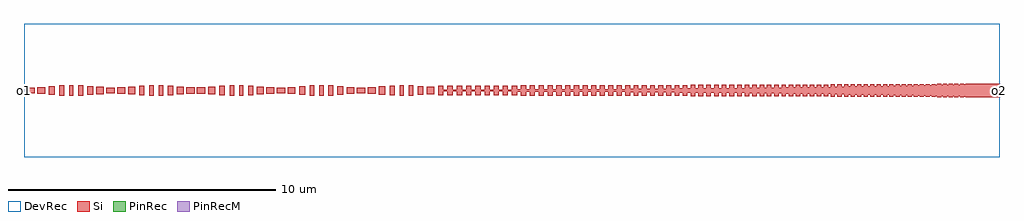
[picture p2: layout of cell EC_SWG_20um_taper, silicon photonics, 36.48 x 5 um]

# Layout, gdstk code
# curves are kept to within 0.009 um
import gdstk
lib = gdstk.Library(unit=1e-6, precision=1e-09)
def R(c, l, rs):  # rectangles x0, y0, x1, y1
    for r in rs: c.add(gdstk.rectangle(r[:2], r[2:], *l))
def P(c, l, *ps):  # polygons
    for p in ps: c.add(gdstk.Polygon(p, *l))
Si = (1, 0)
PinRec = (1, 10)
PinRecM = (1, 11)
DevRec = (68, 0)

nonlinear_taper_5 = lib.new_cell('Nonlinear_Taper$5')
P(nonlinear_taper_5, Si, [(20,-0.25),(16.162,-0.164),(11.515,-0.098),(7.071,-0.062),(0,-0.03),(0,0.03),(7.071,0.062),(11.515,0.098),(16.162,0.164),(20,0.25)])

rectangle_s1_0p5_lwg_cf_ = lib.new_cell('rectangle_S1_0p5_LWG_CF_2a77620c$5')
R(rectangle_s1_0p5_lwg_cf_, Si, [(0,0,1,0.5)])

ec_swg_20um_taper = lib.new_cell('EC_SWG_20um_taper')
R(ec_swg_20um_taper, Si, [(35.157,-0.249,35.291,0.249), (34.953,-0.248,35.088,0.248), (34.747,-0.247,34.884,0.247), (34.538,-0.246,34.676,0.246), (34.328,-0.245,34.467,0.245), (34.115,-0.244,34.256,0.244), (33.901,-0.243,34.042,0.243), (33.684,-0.242,33.826,0.242), (33.464,-0.241,33.608,0.241), (33.243,-0.24,33.388,0.24), (33.019,-0.239,33.165,0.239), (32.793,-0.238,32.94,0.238), (32.565,-0.237,32.713,0.237), (32.335,-0.236,32.484,0.236), (32.102,-0.235,32.252,0.235), (31.867,-0.234,32.019,0.234), (31.63,-0.233,31.783,0.233), (31.391,-0.232,31.544,0.232), (31.149,-0.231,31.304,0.231), (30.905,-0.23,31.061,0.23), (30.659,-0.229,30.816,0.229), (30.41,-0.228,30.568,0.228), (30.16,-0.227,30.318,0.227), (29.907,-0.225,30.066,0.225), (29.651,-0.224,29.812,0.224), (29.394,-0.223,29.556,0.223), (29.134,-0.222,29.297,0.222), (28.872,-0.221,29.036,0.221), (28.607,-0.22,28.772,0.22), (28.341,-0.219,28.507,0.219), (28.072,-0.218,28.239,0.218), (27.801,-0.217,27.969,0.217), (27.527,-0.216,27.696,0.216), (27.252,-0.215,27.421,0.215), (26.974,-0.214,27.144,0.214), (26.694,-0.213,26.865,0.213), (26.411,-0.212,26.584,0.212), (26.127,-0.211,26.3,0.211), (25.84,-0.21,26.014,0.21), (25.551,-0.209,25.726,0.209), (25.26,-0.208,25.436,0.208), (24.966,-0.207,25.143,0.207), (24.671,-0.206,24.849,0.206), (24.373,-0.205,24.552,0.205), (24.073,-0.204,24.253,0.204), (23.771,-0.203,23.952,0.203), (23.467,-0.202,23.648,0.202), (23.161,-0.201,23.343,0.201), (1.443,-0.2,1.604,0.2), (10.795,-0.2,10.956,0.2), (22.853,-0.2,23.036,0.2), (4.442,-0.199,4.605,0.199), (7.793,-0.199,7.956,0.199), (13.794,-0.199,13.956,0.199), (22.543,-0.199,22.726,0.199), (22.23,-0.198,22.414,0.198), (21.916,-0.197,22.101,0.197), (21.6,-0.196,21.785,0.196), (4.79,-0.195,4.958,0.195), (7.438,-0.195,7.606,0.195), (21.281,-0.195,21.467,0.195), (20.961,-0.194,21.148,0.194), (14.14,-0.193,14.312,0.193), (20.638,-0.193,20.826,0.193), (20.314,-0.192,20.503,0.192), (1.786,-0.191,1.962,0.191), (19.988,-0.191,20.177,0.191), (10.432,-0.19,10.608,0.19), (19.33,-0.19,19.52,0.19), (19.66,-0.19,19.85,0.19), (18.998,-0.189,19.189,0.189), (11.135,-0.188,11.316,0.188), (18.664,-0.188,18.856,0.188), (1.075,-0.187,1.257,0.187), (18.329,-0.187,18.521,0.187), (17.992,-0.186,18.185,0.186), (17.312,-0.185,17.506,0.185), (17.653,-0.185,17.846,0.185), (13.423,-0.184,13.61,0.184), (16.97,-0.184,17.165,0.184), (16.626,-0.183,16.821,0.183), (16.281,-0.182,16.476,0.182), (8.129,-0.181,8.322,0.181), (15.585,-0.181,15.781,0.181), (15.933,-0.181,16.13,0.181), (4.065,-0.18,4.259,0.18), (15.235,-0.18,15.432,0.18), (5.124,-0.173,5.33,0.173), (7.052,-0.171,7.26,0.171), (14.473,-0.168,14.686,0.168), (2.118,-0.164,2.339,0.164), (10.036,-0.162,10.261,0.162), (11.468,-0.159,11.697,0.159), (0.675,-0.157,0.909,0.157), (13.019,-0.152,13.261,0.152), (8.463,-0.149,8.709,0.149), (3.657,-0.147,3.908,0.147), (5.46,-0.14,5.723,0.14), (6.637,-0.137,6.906,0.137), (14.811,-0.135,15.083,0.135), (2.459,-0.131,2.739,0.131), (9.616,-0.128,9.901,0.128), (11.811,-0.127,12.099,0.127), (0.253,-0.124,0.547,0.124), (12.596,-0.121,12.895,0.121), (8.814,-0.12,9.115,0.12), (3.234,-0.117,3.539,0.117), (5.82,-0.115,6.131,0.115), (6.215,-0.113,6.53,0.113), (2.828,-0.111,3.146,0.111), (-0.16,-0.11,0.16,0.11), (9.199,-0.11,9.519,0.11), (12.186,-0.11,12.505,0.11)])
R(ec_swg_20um_taper, DevRec, [(-0.24,-2.5,36.235,2.5)])
ec_swg_20um_taper.add(gdstk.FlexPath([(-0.235,0),(-0.245,0)], 0.22, ends="flush", simple_path=True, layer=1, datatype=10))  # PinRec
ec_swg_20um_taper.add(gdstk.FlexPath([(36.23,0),(36.24,0)], 0.5, ends="flush", simple_path=True, layer=1, datatype=10))  # PinRec
ec_swg_20um_taper.add(gdstk.FlexPath([(-0.235,0),(-0.245,0)], 0.22, ends="flush", simple_path=True, layer=1, datatype=11))  # PinRecM
ec_swg_20um_taper.add(gdstk.FlexPath([(36.23,0),(36.24,0)], 0.5, ends="flush", simple_path=True, layer=1, datatype=11))  # PinRecM
ec_swg_20um_taper.add(gdstk.Reference(nonlinear_taper_5, (15.235,0)))
ec_swg_20um_taper.add(gdstk.Reference(rectangle_s1_0p5_lwg_cf_, (35.235,-0.25)))
ec_swg_20um_taper.add(gdstk.Label('o1', (-0.24,0), layer=1, texttype=10))
ec_swg_20um_taper.add(gdstk.Label('o2', (36.235,0), layer=1, texttype=10))
ec_swg_20um_taper.add(gdstk.Label('o1', (-0.24,0), layer=1, texttype=11))
ec_swg_20um_taper.add(gdstk.Label('o2', (36.235,0), layer=1, texttype=11))

lib.write_gds('EC_SWG_20um_taper.gds')
